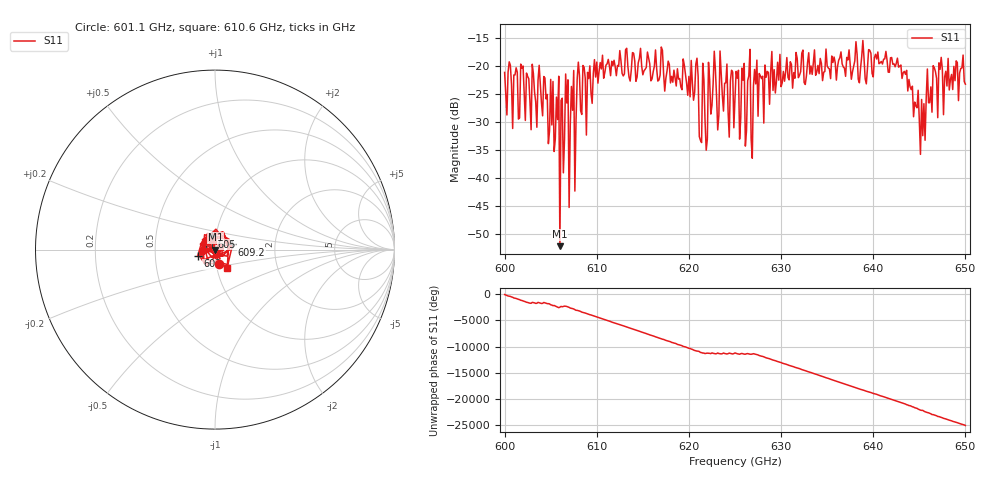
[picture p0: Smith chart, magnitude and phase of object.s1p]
!Created with skrf (http://scikit-rf.org).
# GHz S MA R 50.0
!freq magS11 angS11
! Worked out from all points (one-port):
!   401 points, 600 GHz to 650 GHz, reference 50 ohm
!   lowest |S11| = -52.2 dB at 606 GHz (marker M1), VSWR 1.00, Z = 50.2 + j0.0361 ohm
!   |S11| at or under -10 dB: start of sweep to end of sweep
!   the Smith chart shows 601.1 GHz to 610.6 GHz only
!   S11 on the Smith chart (normalised r, x): 601.1 GHz: 1.03, -0.17; 603 GHz: 0.82, -0.06; 605 GHz: 0.95, +0.14; 609.2 GHz: 1.21, +0.07; 610.6 GHz: 1.12, -0.24
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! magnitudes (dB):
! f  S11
! 600 GHz  -21.2
! 601.1 GHz  -21.6
! 603 GHz  -19.7
! 604 GHz  -26.6
! 605 GHz  -22.4
! 606 GHz  -52.2
! 606.2 GHz  -25.8
! 606.4 GHz  -39.1
! 607.1 GHz  -30.6
! 608 GHz  -19.3
! 609.2 GHz  -20.0
! 610.6 GHz  -18.1
! 612.5 GHz  -17.3
! 618.8 GHz  -20.5
! 620.8 GHz  -19.7
! 621.4 GHz  -33.7
! 622.1 GHz  -19.4
! 622.8 GHz  -17.4
! 625 GHz  -25.7
! 627 GHz  -23.6
! 627.4 GHz  -19.0
! 631.2 GHz  -24.0
! 637.5 GHz  -19.7
! 641.2 GHz  -18.7
! 643.8 GHz  -24.5
! 645.4 GHz  -32.5
! 646.6 GHz  -20.3
! 650 GHz  -23.3
